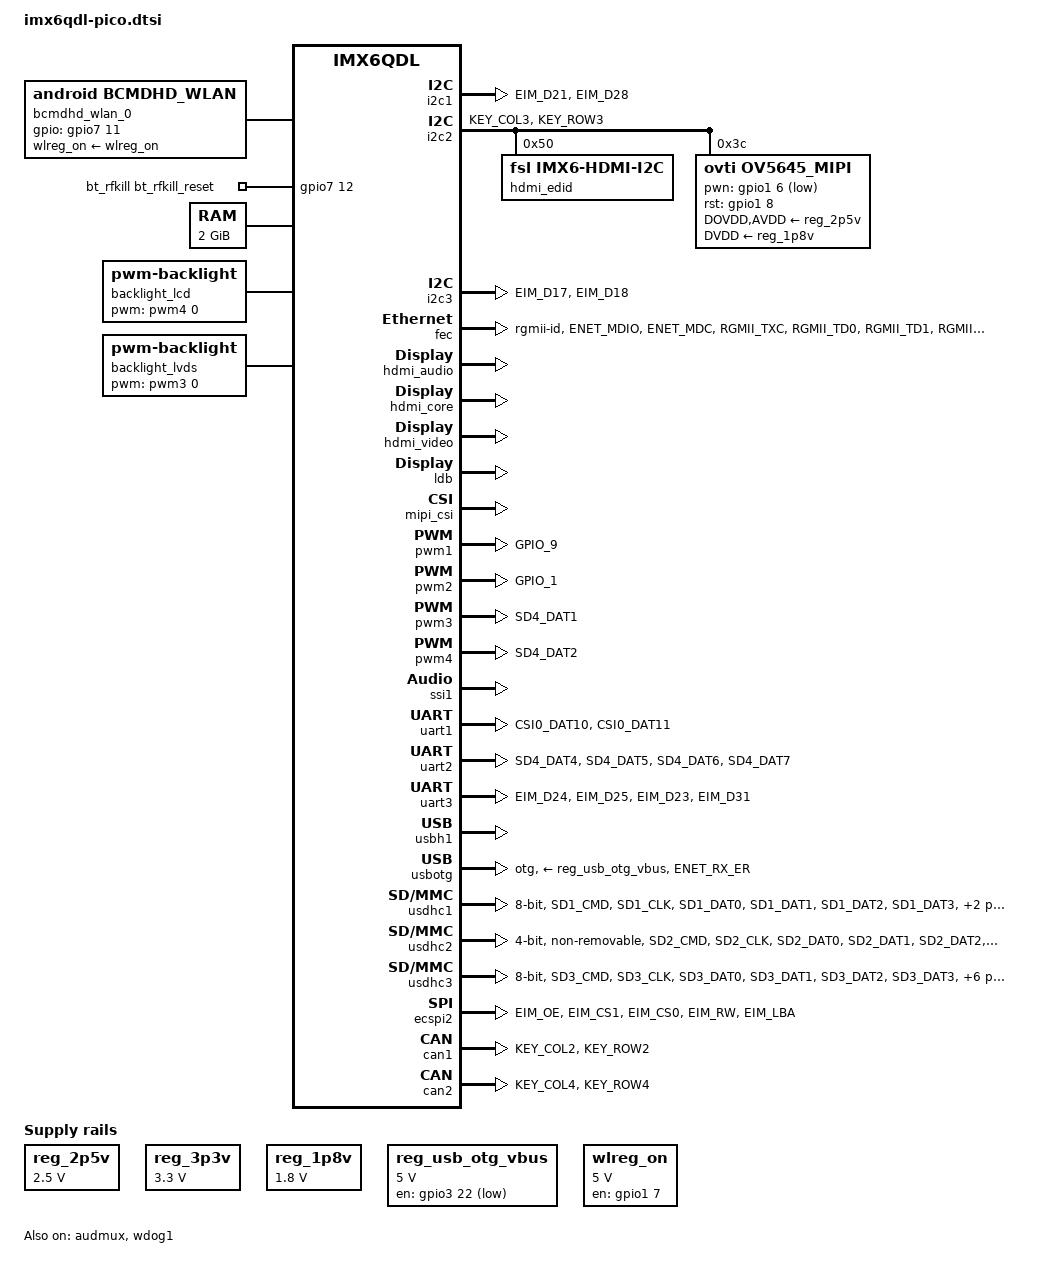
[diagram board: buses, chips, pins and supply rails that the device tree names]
/*
 * Copyright 2018 Technexion Ltd.
 *
 * Author: Tapani Utriainen <tapani@technexion.com>
 *         Richard Hu <richard.hu@technexion.com>
 * This program is free software; you can redistribute it and/or modify
 * it under the terms of the GNU General Public License version 2 as
 * published by the Free Software Foundation.
 *
 */

#include <dt-bindings/gpio/gpio.h>

/* external pins on PICO connector */

#define PICO_EXT_GPIO_P24 gpio5 19
#define PICO_EXT_GPIO_P25 gpio5 18
#define PICO_EXT_GPIO_P26 gpio5 21
#define PICO_EXT_GPIO_P28 gpio5 20
#define PICO_EXT_GPIO_P30 gpio5 26
#define PICO_EXT_GPIO_P32 gpio5 27
#define PICO_EXT_GPIO_P34 gpio6 0
#define PICO_EXT_GPIO_P42 gpio5 30
#define PICO_EXT_GPIO_P44 gpio5 31
#define PICO_EXT_GPIO_P48 gpio6 1

#define PICO_DWARF_GPIO_DEFS()							\
&gpio5 {									\
	gpio-line-names = 							\
		"", "", "", "", "", "", "", "",					\
		"", "", "", "", "", "", "", "",					\
		"", "", "", "", "", "", "", "",					\
		"", "", "", "", "", "", "", "";					\
										\
	pinctrl-0 = <&pinctrl_gpio5>;						\
};										\
										\
&gpio6 {									\
	gpio-line-names = 							\
		"", "", "", "", "", "", "", "",					\
		"", "", "", "", "", "", "", "",					\
		"", "", "", "", "", "", "", "",					\
		"", "", "", "", "", "", "", "";					\
										\
	pinctrl-0 = <&pinctrl_gpio6>;						\
}

#define PICO_HOBBIT_GPIO_DEFS()	\
&gpio5 {									\
	gpio-line-names = 							\
		"", "", "", "", "", "", "", "",					\
		"", "", "", "", "", "", "", "",					\
		"", "", "GPIO_P25", "GPIO_P24", "GPIO_P28", "GPIO_P26", "", "",	\
		"", "", "GPIO_P30", "GPIO_P32", "", "", "", "";			\
										\
	pinctrl-0 = <&pinctrl_gpio5>;						\
};										\
										\
&gpio6 {									\
	gpio-line-names = 							\
		"GPIO_P34", "GPIO_P48", "", "", "", "", "", "",			\
		"", "", "", "", "", "", "", "",					\
		"", "", "", "", "", "", "", "",					\
		"", "", "", "", "", "", "", "";					\
										\
	pinctrl-0 = <&pinctrl_gpio6>;						\
}

#define PICO_NYMPH_GPIO_DEFS()	\
&gpio5 {									\
	gpio-line-names = 							\
		"", "", "", "", "", "", "", "",					\
		"", "", "", "", "", "", "", "",					\
		"", "", "", "", "GPIO_P28", "", "", "",				\
		"", "", "GPIO_P30", "GPIO_P32", "", "", "", "";			\
										\
	pinctrl-0 = <&pinctrl_gpio5>;						\
};										\
										\
&gpio6 {									\
	gpio-line-names = 							\
		"GPIO_P34", "", "", "", "", "", "", "",				\
		"", "", "", "", "", "", "", "",					\
		"", "", "", "", "", "", "", "",					\
		"", "", "", "", "", "", "", "";					\
										\
	pinctrl-0 = <&pinctrl_gpio6>;						\
}

#define PICO_PI_GPIO_DEFS()	\
&gpio5 {									\
	gpio-line-names = 							\
		"", "", "", "", "", "", "", "",					\
		"", "", "", "", "", "", "", "",					\
		"", "", "", "GPIO_P24", "GPIO_P28", "GPIO_P26", "", "",		\
		"", "", "GPIO_P30", "", "", "", "", "";				\
										\
	pinctrl-0 = <&pinctrl_gpio5>;						\
};										\
										\
&gpio6 {									\
	gpio-line-names = 							\
		"GPIO_P34", "GPIO_P48", "", "", "", "", "", "",			\
		"", "", "", "", "", "", "", "",					\
		"", "", "", "", "", "", "", "",					\
		"", "", "", "", "", "", "", "";					\
										\
	pinctrl-0 = <&pinctrl_gpio6>;						\
}

#define PICO_PCIE pcie

/* audio codec */
#define PICO_AUDA_I2S_CHANNEL ssi1
#define PICO_AUDA_MUX_INT 1
#define PICO_AUDA_MUX_EXT 3

/* I2C bus */
#define PICO_I2CA i2c1
#define PICO_I2CB i2c2
#define PICO_I2CC i2c3

#define PICO_SPIA ecspi2
#define PICO_SPIB ecspi1

#define PICO_CANA can1
#define PICO_CANB can2

/ {
	aliases {
		mxcfb0 = &mxcfb1;
		mxcfb1 = &mxcfb2;
		mxcfb2 = &mxcfb3;
		mxcfb3 = &mxcfb4;
	};

	chosen {
		stdout-path = &uart1;
	};

	bcmdhd_wlan_0: bcmdhd_wlan@0 {
		compatible = "android,bcmdhd_wlan";
		pinctrl-names = "default";
		pinctrl-0 = <&pinctrl_wifi_ctrl>;
		gpios = <&gpio7 11 0>;    /* WL_HOST_WAKE */
		wlreg_on-supply = <&wlreg_on>;
	};

	bt_rfkill {
		compatible = "net,rfkill-bcm43xx";
		pinctrl-names = "default";
		pinctrl-0 = <&pinctrl_bt_ctrl>;
		name = "bt_rfkill";
		type = <2>;     /* bluetooth */
		bt_rfkill_reset-gpios = <&gpio7 12 0>;
	};

	memory: memory {
		reg = <0x10000000 0x80000000>;
	};

	regulators {
		compatible = "simple-bus";
		#address-cells = <1>;
		#size-cells = <0>;

		reg_2p5v: regulator@0 {
			compatible = "regulator-fixed";
			reg = <0>;
			regulator-name = "2P5V";
			regulator-min-microvolt = <2500000>;
			regulator-max-microvolt = <2500000>;
			regulator-always-on;
		};

		reg_3p3v: regulator@1 {
			compatible = "regulator-fixed";
			reg = <1>;
			regulator-name = "3P3V";
			regulator-min-microvolt = <3300000>;
			regulator-max-microvolt = <3300000>;
			regulator-always-on;
		};

		reg_1p8v: 1p8v {
			compatible = "regulator-fixed";
			reg = <2>;
			regulator-name = "1P8V";
			regulator-min-microvolt = <1800000>;
			regulator-max-microvolt = <1800000>;
			regulator-always-on;
		};

		reg_usb_otg_vbus: usb_otg_vbus {
			compatible = "regulator-fixed";
			reg = <3>;
			regulator-name = "usb_otg_vbus";
			regulator-min-microvolt = <5000000>;
			regulator-max-microvolt = <5000000>;
			gpio = <&gpio3 22 GPIO_ACTIVE_HIGH>;
		};

		wlreg_on: wlreg_on {
			compatible = "regulator-fixed";
			regulator-min-microvolt = <5000000>;
			regulator-max-microvolt = <5000000>;
			regulator-name = "wlreg_on";
			gpio = <&gpio1 7 GPIO_ACTIVE_HIGH>;
			enable-active-high;
		};
	};

	sound-hdmi {
		compatible = "fsl,imx6q-audio-hdmi",
			     "fsl,imx-audio-hdmi";
		model = "imx-audio-hdmi";
		hdmi-controller = <&hdmi_audio>;
	};

	mxcfb1: fb@0 {
		compatible = "fsl,mxc_sdc_fb";
		disp_dev = "ldb";
		interface_pix_fmt = "RGB666";
		default_bpp = <16>;
		int_clk = <0>;
		late_init = <0>;
		status = "okay";
	};

	mxcfb2: fb@1 {
		compatible = "fsl,mxc_sdc_fb";
		disp_dev = "hdmi";
		interface_pix_fmt = "RGB24";
		mode_str ="1920x1080M@60";
		default_bpp = <24>;
		int_clk = <0>;
		late_init = <0>;
		status = "okay";
	};

	mxcfb3: fb@2 {
		compatible = "fsl,mxc_sdc_fb";
		disp_dev = "lcd";
		interface_pix_fmt = "RGB565";
		mode_str ="CLAA-WVGA";
		default_bpp = <16>;
		int_clk = <0>;
		late_init = <0>;
		status = "disabled";
	};

	mxcfb4: fb@3 {
		compatible = "fsl,mxc_sdc_fb";
		disp_dev = "ldb";
		interface_pix_fmt = "RGB666";
		default_bpp = <16>;
		int_clk = <0>;
		late_init = <0>;
		status = "disabled";
	};

	lcd@0 {
		compatible = "fsl,lcd";
		ipu_id = <0>;
		disp_id = <0>;
		default_ifmt = "RGB24";
		pinctrl-names = "default";
		pinctrl-0 = <&pinctrl_ipu1>;
		status = "okay";
	};

	backlight_lcd {
		compatible = "pwm-backlight";
		pwms = <&pwm4 0 50000>;
		brightness-levels = <0 36 72 108 144 180 216 255>;
		default-brightness-level = <6>;
	};

	backlight_lvds {
		compatible = "pwm-backlight";
		pwms = <&pwm3 0 50000>;
		brightness-levels = <0 36 72 108 144 180 216 255>;
		default-brightness-level = <6>;
	};

	v4l2_cap_0 {
		compatible = "fsl,imx6q-v4l2-capture";
		ipu_id = <0>;
		csi_id = <0>;
		mclk_source = <0>;
		status = "okay";
	};

	v4l2_out {
		compatible = "fsl,mxc_v4l2_output";
		status = "okay";
	};

	gpio_p24 {
	};
};

&audmux {
	pinctrl-names = "default";
	pinctrl-0 = <&pinctrl_audmux>;
	status = "okay";
};

&i2c1 {
	pinctrl-names = "default";
	pinctrl-0 = <&pinctrl_i2c1>;
	status = "okay";
};

&i2c2 {
	pinctrl-names = "default";
	pinctrl-0 = <&pinctrl_i2c2>;
	status = "okay";

	hdmi_edid: edid@50 {
		compatible = "fsl,imx6-hdmi-i2c";
		reg = <0x50>;
	};

	ov5645_mipi: ov5645_mipi@3c {
		compatible = "ovti,ov5645_mipi";
		pinctrl-names = "default";
		pinctrl-0 = <&pinctrl_mipi_csi>; /* PICO_P69:mipi clock, PICO_P67:power on, PICO_P65:reset */
		reg = <0x3c>;
		clocks = <&clks 200>;
		clock-names = "csi_mclk";
		DOVDD-supply = <&reg_2p5v>;
		AVDD-supply = <&reg_2p5v>;
		DVDD-supply = <&reg_1p8v>;
		pwn-gpios = <&gpio1 6 1>;
		rst-gpios = <&gpio1 8 0>;
		ipu_id = <0>;
		csi_id = <0>;
		mclk = <24000000>;
		mclk_source = <0>;
	};
};

&i2c3 {
	pinctrl-names = "default";
	pinctrl-0 = <&pinctrl_i2c3>;
	status = "okay";
};


&iomuxc {
	pinctrl-names = "default";
	pinctrl-0 = <&pinctrl_hog_1>;

	imx6qdl-pico {
		pinctrl_hog_1: hoggrp-1 {
			fsl,pins = <
				MX6QDL_PAD_ENET_RXD0__XTALOSC_REF_CLK_32K	0x000b0	/* wifi LPO 32K Hz clock */
				MX6QDL_PAD_EIM_D22__GPIO3_IO22			0x80000000	/* USB OTG power */
			>;
		};

		pinctrl_gpio5: gpio5_grp {
			fsl,pins = <
				/* External pins on PICO connector */
				MX6QDL_PAD_CSI0_MCLK__GPIO5_IO19	0x4001b0b5 /* PICO_P24 */
				MX6QDL_PAD_CSI0_PIXCLK__GPIO5_IO18	0x4001b0b5 /* PICO_P25 */
				MX6QDL_PAD_CSI0_VSYNC__GPIO5_IO21	0x4001b0b5 /* PICO_P26 */
				MX6QDL_PAD_CSI0_DATA_EN__GPIO5_IO20	0x4001b0b5 /* PICO_P28 */
				MX6QDL_PAD_CSI0_DAT8__GPIO5_IO26	0x4001b0b5 /* PICO_P30 */
				MX6QDL_PAD_CSI0_DAT9__GPIO5_IO27	0x4001b0b5 /* PICO_P32 */
				MX6QDL_PAD_CSI0_DAT12__GPIO5_IO30  	0x4001b0b5 /* PICO_P42 */
				MX6QDL_PAD_CSI0_DAT13__GPIO5_IO31	0x4001b0b5 /* PICO_P44 */
			>;
		};

		pinctrl_gpio6: gpio6_grp {
			fsl,pins = <
				MX6QDL_PAD_CSI0_DAT14__GPIO6_IO00	0x4001b0b5 /* PICO_P34 */
				MX6QDL_PAD_CSI0_DAT15__GPIO6_IO01	0x4001b0b5 /* PICO_P48 */
			>;
		};

		pinctrl_wifi_ctrl: wifi_ctrlgrp {
			fsl,pins = <
				MX6QDL_PAD_GPIO_7__GPIO1_IO07			0x000b0		/* wifi-reg-on */
				MX6QDL_PAD_GPIO_16__GPIO7_IO11			0x80000000	/* wifi-host-wake */
			>;
		};

		pinctrl_bt_ctrl: bt_ctrlgrp {
			fsl,pins = <
				MX6QDL_PAD_GPIO_17__GPIO7_IO12		0x000b0		/* bluetooth-reg-on */
				MX6QDL_PAD_GPIO_4__GPIO1_IO04		0x000b0		/* bluetooth-wake */
				MX6QDL_PAD_GPIO_5__GPIO1_IO05   	0x000b0		/* bluetooth-host-wake */
			>;
		};

		pinctrl_audmux: audmuxgrp {
			fsl,pins = <
				MX6QDL_PAD_CSI0_DAT7__AUD3_RXD		0x130b0
				MX6QDL_PAD_CSI0_DAT4__AUD3_TXC		0x130b0
				MX6QDL_PAD_CSI0_DAT5__AUD3_TXD		0x110b0
				MX6QDL_PAD_CSI0_DAT6__AUD3_TXFS		0x130b0
			>;
		};

		pinctrl_ecspi1: ecspi1grp {
			fsl,pins = <
				MX6QDL_PAD_EIM_D17__ECSPI1_MISO		0x100b1
				MX6QDL_PAD_EIM_D18__ECSPI1_MOSI		0x100b1
				MX6QDL_PAD_EIM_D16__ECSPI1_SCLK		0x100b1
				MX6QDL_PAD_EIM_EB2__GPIO2_IO30		0x000f0b0 /* cs0 */
			>;
		};

		pinctrl_ecspi2: ecspi2grp {
			fsl,pins = <
				MX6QDL_PAD_EIM_OE__ECSPI2_MISO		0x1b0b1
				MX6QDL_PAD_EIM_CS1__ECSPI2_MOSI		0x1b0b1
				MX6QDL_PAD_EIM_CS0__ECSPI2_SCLK		0x1b0b1
				MX6QDL_PAD_EIM_RW__GPIO2_IO26		0x000f0b0
				MX6QDL_PAD_EIM_LBA__GPIO2_IO27		0x000f0b0
			>;
		};

		pinctrl_enet: enetgrp {
			fsl,pins = <
				MX6QDL_PAD_ENET_MDIO__ENET_MDIO		0x1b0b0
				MX6QDL_PAD_ENET_MDC__ENET_MDC		0x1b0b0
				MX6QDL_PAD_RGMII_TXC__RGMII_TXC		0x1b0b0
				MX6QDL_PAD_RGMII_TD0__RGMII_TD0		0x1b0b0
				MX6QDL_PAD_RGMII_TD1__RGMII_TD1		0x1b0b0
				MX6QDL_PAD_RGMII_TD2__RGMII_TD2		0x1b0b0
				MX6QDL_PAD_RGMII_TD3__RGMII_TD3		0x1b0b0
				MX6QDL_PAD_RGMII_TX_CTL__RGMII_TX_CTL	0x1b0b0
				MX6QDL_PAD_ENET_REF_CLK__ENET_TX_CLK	0x1b0b0
				MX6QDL_PAD_RGMII_RXC__RGMII_RXC		0x1b0b0
				MX6QDL_PAD_RGMII_RD0__RGMII_RD0		0x1b0b0
				MX6QDL_PAD_RGMII_RD1__RGMII_RD1		0x1b0b0
				MX6QDL_PAD_RGMII_RD2__RGMII_RD2		0x1b0b0
				MX6QDL_PAD_RGMII_RD3__RGMII_RD3		0x1b0b0
				MX6QDL_PAD_RGMII_RX_CTL__RGMII_RX_CTL	0x1b0b0
				MX6QDL_PAD_ENET_TX_EN__ENET_TX_EN	0x1b0b0
				MX6QDL_PAD_ENET_RXD1__GPIO1_IO26	0x1f0b1		/* RGMII PHY reset */
			>;
		};

		pinctrl_i2c1: i2c1grp {
			fsl,pins = <
				MX6QDL_PAD_EIM_D21__I2C1_SCL 		0x4001b8b1
				MX6QDL_PAD_EIM_D28__I2C1_SDA 		0x4001b8b1
			>;
		};

		pinctrl_i2c2: i2c2grp {
			fsl,pins = <
				MX6QDL_PAD_KEY_COL3__I2C2_SCL		0x4001b8b1
				MX6QDL_PAD_KEY_ROW3__I2C2_SDA		0x4001b8b1
			>;
		};

		pinctrl_i2c3: i2c3grp {
			fsl,pins = <
				MX6QDL_PAD_EIM_D17__I2C3_SCL		0x4001b8b1
				MX6QDL_PAD_EIM_D18__I2C3_SDA		0x4001b8b1
			>;
		};

		pinctrl_ipu1: ipu1grp {
			fsl,pins = <
				MX6QDL_PAD_DI0_DISP_CLK__IPU1_DI0_DISP_CLK 0x10
				MX6QDL_PAD_DI0_PIN15__IPU1_DI0_PIN15       0x10
				MX6QDL_PAD_DI0_PIN2__IPU1_DI0_PIN02        0x10
				MX6QDL_PAD_DI0_PIN3__IPU1_DI0_PIN03        0x10
				MX6QDL_PAD_DI0_PIN4__IPU1_DI0_PIN04        0x80000000
				MX6QDL_PAD_DISP0_DAT0__IPU1_DISP0_DATA00   0x10
				MX6QDL_PAD_DISP0_DAT1__IPU1_DISP0_DATA01   0x10
				MX6QDL_PAD_DISP0_DAT2__IPU1_DISP0_DATA02   0x10
				MX6QDL_PAD_DISP0_DAT3__IPU1_DISP0_DATA03   0x10
				MX6QDL_PAD_DISP0_DAT4__IPU1_DISP0_DATA04   0x10
				MX6QDL_PAD_DISP0_DAT5__IPU1_DISP0_DATA05   0x10
				MX6QDL_PAD_DISP0_DAT6__IPU1_DISP0_DATA06   0x10
				MX6QDL_PAD_DISP0_DAT7__IPU1_DISP0_DATA07   0x10
				MX6QDL_PAD_DISP0_DAT8__IPU1_DISP0_DATA08   0x10
				MX6QDL_PAD_DISP0_DAT9__IPU1_DISP0_DATA09   0x10
				MX6QDL_PAD_DISP0_DAT10__IPU1_DISP0_DATA10  0x10
				MX6QDL_PAD_DISP0_DAT11__IPU1_DISP0_DATA11  0x10
				MX6QDL_PAD_DISP0_DAT12__IPU1_DISP0_DATA12  0x10
				MX6QDL_PAD_DISP0_DAT13__IPU1_DISP0_DATA13  0x10
				MX6QDL_PAD_DISP0_DAT14__IPU1_DISP0_DATA14  0x10
				MX6QDL_PAD_DISP0_DAT15__IPU1_DISP0_DATA15  0x10
				MX6QDL_PAD_DISP0_DAT16__IPU1_DISP0_DATA16  0x10
				MX6QDL_PAD_DISP0_DAT17__IPU1_DISP0_DATA17  0x10
				MX6QDL_PAD_DISP0_DAT18__IPU1_DISP0_DATA18  0x10
				MX6QDL_PAD_DISP0_DAT19__IPU1_DISP0_DATA19  0x10
				MX6QDL_PAD_DISP0_DAT20__IPU1_DISP0_DATA20  0x10
				MX6QDL_PAD_DISP0_DAT21__IPU1_DISP0_DATA21  0x10
				MX6QDL_PAD_DISP0_DAT22__IPU1_DISP0_DATA22  0x10
				MX6QDL_PAD_DISP0_DAT23__IPU1_DISP0_DATA23  0x10
			>;
		};

		pinctrl_pwm1: pwm1grp {
			fsl,pins = <
				MX6QDL_PAD_GPIO_9__PWM1_OUT		0x1b0b1
			>;
		};

		pinctrl_pwm2: pwm2grp {
			fsl,pins = <
				MX6QDL_PAD_GPIO_1__PWM2_OUT		0x1b0b1
			>;
		};

		pinctrl_pwm3: pwm3grp {
			fsl,pins = <
				MX6QDL_PAD_SD4_DAT1__PWM3_OUT		0x1b0b1
			>;
		};

		pinctrl_pwm4: pwm4grp {
			fsl,pins = <
				MX6QDL_PAD_SD4_DAT2__PWM4_OUT		0x1b0b1
			>;
		};

		pinctrl_uart1: uart1grp {
			fsl,pins = <
				MX6QDL_PAD_CSI0_DAT10__UART1_TX_DATA	0x1b0b1
				MX6QDL_PAD_CSI0_DAT11__UART1_RX_DATA	0x1b0b1
			>;
		};

		pinctrl_uart2: uart2grp {
			fsl,pins = <
				MX6QDL_PAD_SD4_DAT4__UART2_RX_DATA	0x1b0b1
				MX6QDL_PAD_SD4_DAT5__UART2_RTS_B	0x1b0b1
				MX6QDL_PAD_SD4_DAT6__UART2_CTS_B	0x1b0b1
				MX6QDL_PAD_SD4_DAT7__UART2_TX_DATA	0x1b0b1
			>;
		};

		pinctrl_uart3: uart3grp {
			fsl,pins = <
				MX6QDL_PAD_EIM_D24__UART3_TX_DATA	0x1b0b1
				MX6QDL_PAD_EIM_D25__UART3_RX_DATA	0x1b0b1
				MX6QDL_PAD_EIM_D23__UART3_CTS_B		0x1b0b1
				MX6QDL_PAD_EIM_D31__UART3_RTS_B		0x1b0b1
			>;
		};

		pinctrl_usbotg: usbotggrp {
			fsl,pins = <
				MX6QDL_PAD_ENET_RX_ER__USB_OTG_ID	0x17059
			>;
		};

		pinctrl_usdhc1: usdhc1grp {
			fsl,pins = <
				MX6QDL_PAD_SD1_CMD__SD1_CMD		0x17071
				MX6QDL_PAD_SD1_CLK__SD1_CLK		0x17071
				MX6QDL_PAD_SD1_DAT0__SD1_DATA0		0x17071
				MX6QDL_PAD_SD1_DAT1__SD1_DATA1		0x17071
				MX6QDL_PAD_SD1_DAT2__SD1_DATA2		0x17071
				MX6QDL_PAD_SD1_DAT3__SD1_DATA3		0x17071
				MX6QDL_PAD_GPIO_2__GPIO1_IO02		0x80000000	/* USDHC1 CD */
			>;
		};

		pinctrl_usdhc2: usdhc2grp {
			fsl,pins = <
				MX6QDL_PAD_SD2_CMD__SD2_CMD		0x17059
				MX6QDL_PAD_SD2_CLK__SD2_CLK		0x10059
				MX6QDL_PAD_SD2_DAT0__SD2_DATA0		0x17059
				MX6QDL_PAD_SD2_DAT1__SD2_DATA1		0x17059
				MX6QDL_PAD_SD2_DAT2__SD2_DATA2		0x17059
				MX6QDL_PAD_SD2_DAT3__SD2_DATA3		0x17059
			>;
		};

		pinctrl_usdhc3: usdhc3grp {
			fsl,pins = <
				MX6QDL_PAD_SD3_CMD__SD3_CMD		0x17059
				MX6QDL_PAD_SD3_CLK__SD3_CLK		0x10059
				MX6QDL_PAD_SD3_DAT0__SD3_DATA0		0x17059
				MX6QDL_PAD_SD3_DAT1__SD3_DATA1		0x17059
				MX6QDL_PAD_SD3_DAT2__SD3_DATA2		0x17059
				MX6QDL_PAD_SD3_DAT3__SD3_DATA3		0x17059
				MX6QDL_PAD_EIM_DA9__GPIO3_IO09		0x80000000	/* USDHC3 CD */
		/* The below pins are NC on SD version, but used on eMMC version */
				MX6QDL_PAD_SD3_DAT4__SD3_DATA4		0x17059
				MX6QDL_PAD_SD3_DAT5__SD3_DATA5		0x17059
				MX6QDL_PAD_SD3_DAT6__SD3_DATA6		0x17059
				MX6QDL_PAD_SD3_DAT7__SD3_DATA7		0x17059
			>;
		};

		pinctrl_flexcan1: flexcan1grp {
			fsl,pins = <
				MX6QDL_PAD_KEY_COL2__FLEXCAN1_TX	0x80000000
				MX6QDL_PAD_KEY_ROW2__FLEXCAN1_RX	0x80000000
			>;
		};

		pinctrl_flexcan2: flexcan2grp {
			fsl,pins = <
				MX6QDL_PAD_KEY_COL4__FLEXCAN2_TX	0x80000000
				MX6QDL_PAD_KEY_ROW4__FLEXCAN2_RX	0x80000000
			>;
		};

		pinctrl_mipi_csi: mipicsigrp {
			fsl,pins = <
				MX6QDL_PAD_GPIO_6__GPIO1_IO06		0x0b0b0		/* ov5640 mipi powerdown */
				MX6QDL_PAD_GPIO_8__GPIO1_IO08		0x0b0b0		/* ov5640 mipi reset */
				MX6QDL_PAD_GPIO_3__CCM_CLKO2		0x000b0		/* ov5640 mclk */
			>;
		};
	};
};

&clks {
	assigned-clocks = <&clks IMX6QDL_CLK_LDB_DI0_SEL>,
			  <&clks IMX6QDL_CLK_LDB_DI1_SEL>;
	assigned-clock-parents = <&clks IMX6QDL_CLK_PLL2_PFD0_352M>,
				 <&clks IMX6QDL_CLK_PLL2_PFD0_352M>;
};

&fec {
	pinctrl-names = "default";
	pinctrl-0 = <&pinctrl_enet>;
	phy-mode = "rgmii-id";
	phy-reset-gpios = <&gpio1 26 GPIO_ACTIVE_LOW>;
	fsl,magic-packet;
	status = "okay";
};

&hdmi_audio {
	status = "okay";
};

&hdmi_core {
	ipu_id = <0>;
	disp_id = <1>;
	status = "okay";
};

&hdmi_video {
	fsl,phy_reg_vlev = <0x0294>;
	fsl,phy_reg_cksymtx = <0x800d>;
	status = "okay";
};

&ldb {
	status = "okay";
	lvds-channel@0 {
		fsl,data-mapping = "spwg";
		fsl,data-width = <24>;
		primary;
		status = "okay";

		display-timings {
			native-mode = <&timing0>;
			timing0: hj070na {
				clock-frequency = <51000000>;
				hactive = <1024>;
				vactive = <600>;
				hback-porch = <90>;
				hfront-porch = <120>;
				vback-porch = <1>;
				vfront-porch = <1>;
				hsync-len = <100>;
				vsync-len = <33>;
			};
		};
	};
};

&mipi_csi {
	ipu_id = <0>;
	csi_id = <0>;
	v_channel = <0>;
	lanes = <2>;
	status = "okay";
};

&pwm1 {
	pinctrl-names = "default";
	pinctrl-0 = <&pinctrl_pwm1>;
	status = "okay";
};

&pwm2 {
	pinctrl-names = "default";
	pinctrl-0 = <&pinctrl_pwm2>;
	status = "okay";
};

&pwm3 {
	pinctrl-names = "default";
	pinctrl-0 = <&pinctrl_pwm3>;
	status = "okay";
};

&pwm4 {
	pinctrl-names = "default";
	pinctrl-0 = <&pinctrl_pwm4>;
	status = "okay";
};

&ssi1 {
	status = "okay";
};

&uart1 {
	pinctrl-names = "default";
	pinctrl-0 = <&pinctrl_uart1>;
	status = "okay";
};

&uart2 {  /* Bluetooth module */
	pinctrl-names = "default";
	pinctrl-0 = <&pinctrl_uart2>;
	uart-has-rtscts;
	status = "okay";
};

&uart3 {
	pinctrl-names = "default";
	pinctrl-0 = <&pinctrl_uart3>;
	uart-has-rtscts;
	status = "okay";
};

&usbh1 {
	status = "okay";
};

&usbotg {
	vbus-supply = <&reg_usb_otg_vbus>;
	pinctrl-names = "default";
	pinctrl-0 = <&pinctrl_usbotg>;
	disable-over-current;
	dr_mode = "otg";
	status = "okay";
};

&usdhc1 {
	pinctrl-names = "default";
	pinctrl-0 = <&pinctrl_usdhc1>;
	bus-width = <8>;
	cd-gpios = <&gpio3 9 GPIO_ACTIVE_LOW>;
	status = "okay";
};

&usdhc2 {  /* Wifi/BT  */
	pinctrl-names = "default";
	pinctrl-0 = <&pinctrl_usdhc2>;
	bus-width = <4>;
	no-1-8-v;
	keep-power-in-suspend;
	non-removable;
	cd-post;
	pm-ignore-notify;
	wifi-host;
	status = "okay";
};

&usdhc3 {
	pinctrl-names = "default";
	pinctrl-0 = <&pinctrl_usdhc3>;
	bus-width = <8>;
	cd-gpios = <&gpio1 2 GPIO_ACTIVE_LOW>;
	status = "okay";
};

&wdog1 {
	status = "okay";
};

&ecspi2 {
	fsl,spi-num-chipselects = <1>;
	cs-gpios = <&gpio2 27 0>; /* CS0 */
	pinctrl-names = "default";
	pinctrl-0 = <&pinctrl_ecspi2>;
	status = "okay";
};

&can1 {
	pinctrl-names = "default";
	pinctrl-0 = <&pinctrl_flexcan1>;
};

&can2 {
	pinctrl-names = "default";
	pinctrl-0 = <&pinctrl_flexcan2>;
};
